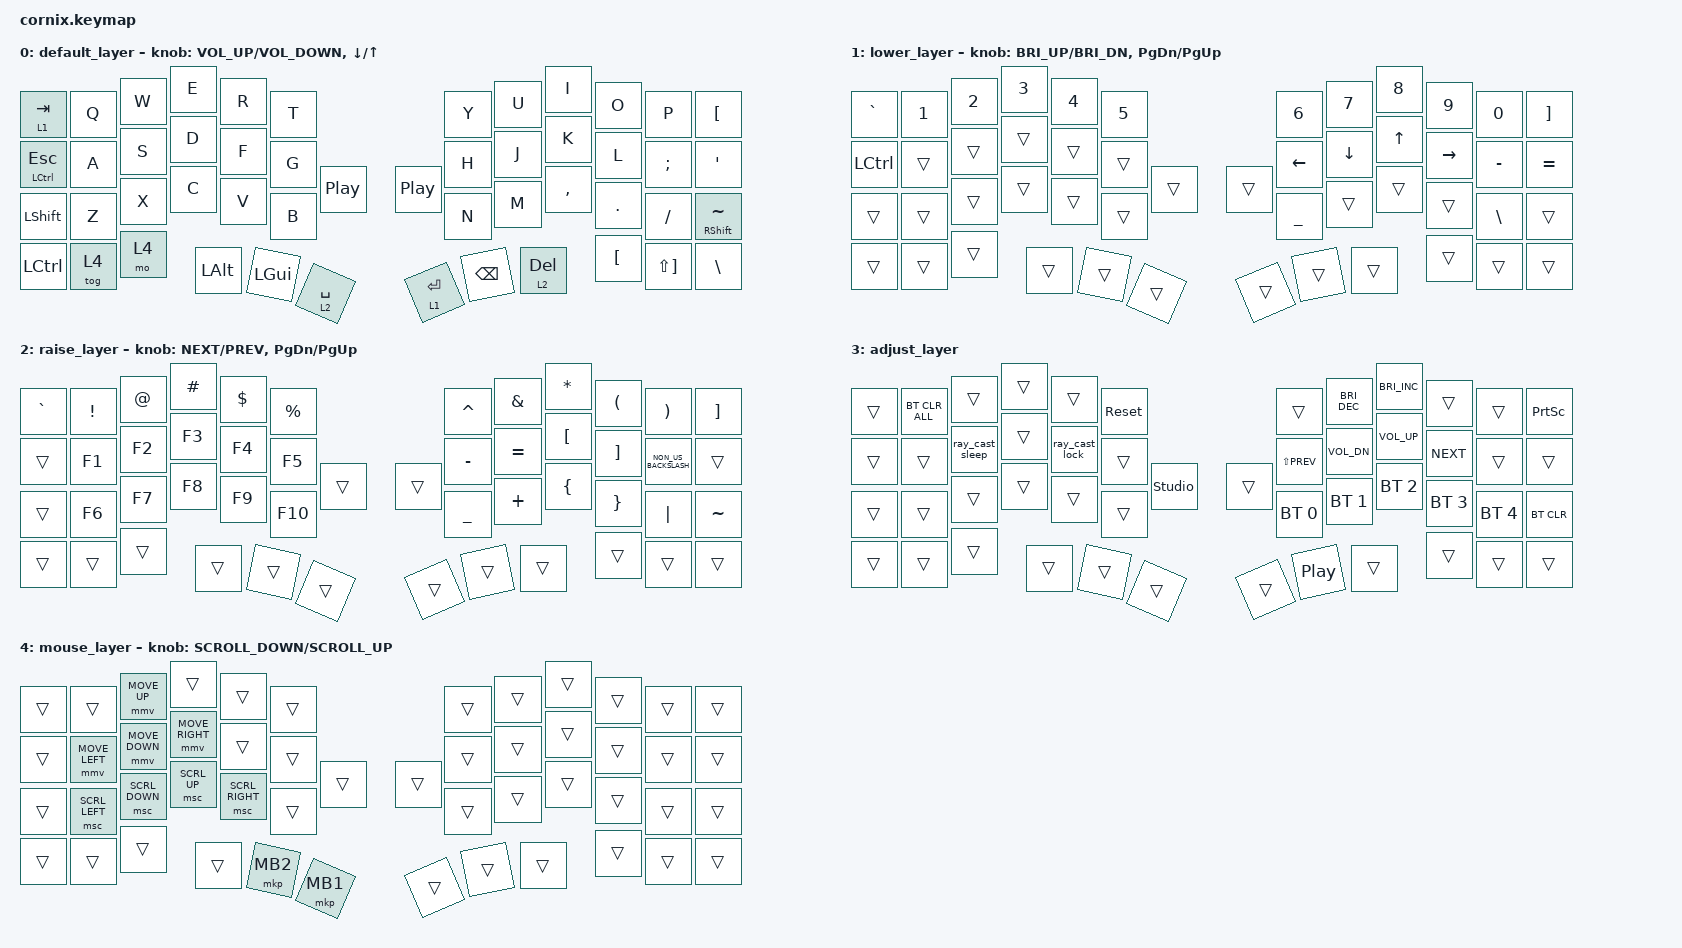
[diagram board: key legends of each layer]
/*
 * Copyright (c) 2020 The ZMK Contributors
 *
 * SPDX-License-Identifier: MIT
 */

#include <behaviors.dtsi>
#include <dt-bindings/zmk/bt.h>
#include <dt-bindings/zmk/keys.h>
#include <dt-bindings/zmk/pointing.h>

/ {
    combos { compatible = "zmk,combos"; };

    macros {
        ray_cast_lock: lock {
            compatible = "zmk,behavior-macro";
            #binding-cells = <0>;
            bindings =
                <&kp LA(SPACE)>,
                <&macro_wait_time 250>,
                <&kp L &kp O &kp C &kp K>,
                <&macro_tap_time 250>,
                <&kp ENTER>;

            label = "lock";
        };

        ray_cast_sleep: ray_cast_sleep {
            compatible = "zmk,behavior-macro";
            #binding-cells = <0>;
            bindings =
                <&kp LA(SPACE)>,
                <&macro_wait_time 250>,
                <&kp S &kp L &kp E &kp E &kp P>,
                <&macro_tap_time 250>,
                <&kp ENTER>;

            label = "RAY_CAST_SLEEP";
        };
    };

    keymap {
        compatible = "zmk,keymap";

        default_layer {
            // -----------------------------------------------------------------------------------------
            // |  TAB |  Q  |  W  |  E  |  R  |  T  |   |  Y  |  U   |  I  |  O  |  P  | BKSP |
            // | CTRL |  A  |  S  |  D  |  F  |  G  |   |  H  |  J   |  K  |  L  |  ;  |  '   |
            // | SHFT |  Z  |  X  |  C  |  V  |  B  |   |  N  |  M   |  ,  |  .  |  /  | ESC  |
            //                    | GUI | LWR | SPC |   | ENT | RSE  | ALT |

            bindings = <
&lt 1 TAB         &kp Q   &kp W  &kp E         &kp R         &kp T                                            &kp Y        &kp U          &kp I         &kp O             &kp P                  &kp LBKT
&mt LCTRL ESCAPE  &kp A   &kp S  &kp D         &kp F         &kp G                                            &kp H        &kp J          &kp K         &kp L             &kp SEMICOLON          &kp SQT
&kp LSHFT         &kp Z   &kp X  &kp C         &kp V         &kp B        &kp C_PLAY_PAUSE  &kp C_PLAY_PAUSE  &kp N        &kp M          &kp COMMA     &kp PERIOD        &kp SLASH              &mt RIGHT_SHIFT TILDE
&kp LCTRL         &tog 4  &mo 4  &kp LEFT_ALT  &kp LEFT_GUI  &lt 2 SPACE                                      &lt 1 ENTER  &kp BACKSPACE  &lt 2 DELETE  &kp LEFT_BRACKET  &kp LS(RIGHT_BRACKET)  &kp BACKSLASH
            >;

            sensor-bindings =
                <&inc_dec_kp C_VOLUME_UP C_VOLUME_DOWN>,
                <&inc_dec_kp DOWN UP>;
        };

        lower_layer {
            // -----------------------------------------------------------------------------------------
            // |  TAB |  1  |  2  |  3  |  4  |  5  |   |  6  |  7  |  8  |  9  |  0  | BKSP |
            // | BTCLR| BT1 | BT2 | BT3 | BT4 | BT5 |   | LFT | DWN |  UP | RGT |     |      |
            // | SHFT |     |     |     |     |     |   |     |     |     |     |     |      |
            //                    | GUI |     | SPC |   | ENT |     | ALT |

            bindings = <
&kp GRAVE  &kp N1  &kp N2  &kp N3  &kp N4  &kp N5                  &kp N6          &kp N7    &kp N8  &kp N9     &kp N0         &kp RBKT
&kp LCTRL  &trans  &trans  &trans  &trans  &trans                  &kp LEFT        &kp DOWN  &kp UP  &kp RIGHT  &kp MINUS      &kp EQUAL
&trans     &trans  &trans  &trans  &trans  &trans  &trans  &trans  &kp UNDERSCORE  &trans    &trans  &trans     &kp BACKSLASH  &trans
&trans     &trans  &trans  &trans  &trans  &trans                  &trans          &trans    &trans  &trans     &trans         &trans
            >;

            sensor-bindings =
                <&inc_dec_kp C_BRI_UP C_BRI_DN>,
                <&inc_dec_kp PAGE_DOWN PAGE_UP>;
        };

        raise_layer {
            // -----------------------------------------------------------------------------------------
            // |  TAB |  !  |  @  |  #  |  $  |  %  |   |  ^  |  &  |  *  |  (  |  )  | BKSP |
            // | CTRL |     |     |     |     |     |   |  -  |  =  |  [  |  ]  |  \  |  `   |
            // | SHFT |     |     |     |     |     |   |  _  |  +  |  {  |  }  | "|" |  ~   |
            //                    | GUI |     | SPC |   | ENT |     | ALT |

            bindings = <
&kp GRAVE  &kp EXCLAMATION  &kp AT_SIGN  &kp HASH  &kp DOLLAR  &kp PERCENT                  &kp CARET       &kp AMPERSAND  &kp ASTRK         &kp LEFT_PARENTHESIS  &kp RIGHT_PARENTHESIS  &kp RIGHT_BRACKET
&trans     &kp F1           &kp F2       &kp F3    &kp F4      &kp F5                       &kp MINUS       &kp EQUAL      &kp LEFT_BRACKET  &kp RIGHT_BRACKET     &kp NON_US_BACKSLASH   &trans
&trans     &kp F6           &kp F7       &kp F8    &kp F9      &kp F10      &trans  &trans  &kp UNDERSCORE  &kp PLUS       &kp LEFT_BRACE    &kp RIGHT_BRACE       &kp PIPE               &kp TILDE
&trans     &trans           &trans       &trans    &trans      &trans                       &trans          &trans         &trans            &trans                &trans                 &trans
            >;

            sensor-bindings =
                <&inc_dec_kp C_NEXT C_PREV>,
                <&inc_dec_kp PAGE_DOWN PAGE_UP>;
        };

        adjust_layer {
            bindings = <
&trans  &bt BT_CLR_ALL  &trans           &trans  &trans          &sys_reset                          &trans          &kp C_BRIGHTNESS_DEC  &kp C_BRIGHTNESS_INC  &trans        &trans        &kp PRINTSCREEN
&trans  &trans          &ray_cast_sleep  &trans  &ray_cast_lock  &trans                              &kp LS(C_PREV)  &kp C_VOL_DN          &kp C_VOL_UP          &kp C_NEXT    &trans        &trans
&trans  &trans          &trans           &trans  &trans          &trans      &studio_unlock  &trans  &bt BT_SEL 0    &bt BT_SEL 1          &bt BT_SEL 2          &bt BT_SEL 3  &bt BT_SEL 4  &bt BT_CLR
&trans  &trans          &trans           &trans  &trans          &trans                              &trans          &kp C_PP              &trans                &trans        &trans        &trans
            >;
        };

        mouse_layer {
            bindings = <
&trans  &trans          &mmv MOVE_UP    &trans           &trans           &trans                    &trans  &trans  &trans  &trans  &trans  &trans
&trans  &mmv MOVE_LEFT  &mmv MOVE_DOWN  &mmv MOVE_RIGHT  &trans           &trans                    &trans  &trans  &trans  &trans  &trans  &trans
&trans  &msc SCRL_LEFT  &msc SCRL_DOWN  &msc SCRL_UP     &msc SCRL_RIGHT  &trans    &trans  &trans  &trans  &trans  &trans  &trans  &trans  &trans
&trans  &trans          &trans          &trans           &mkp MB2         &mkp MB1                  &trans  &trans  &trans  &trans  &trans  &trans
            >;

            sensor-bindings = <&inc_dec_kp K_SCROLL_DOWN K_SCROLL_UP>;
        };
    };

    conditional_layers {
        compatible = "zmk,conditional-layers";

        symbols {
            if-layers = <1 2>;
            then-layer = <3>;
        };
    };
};
